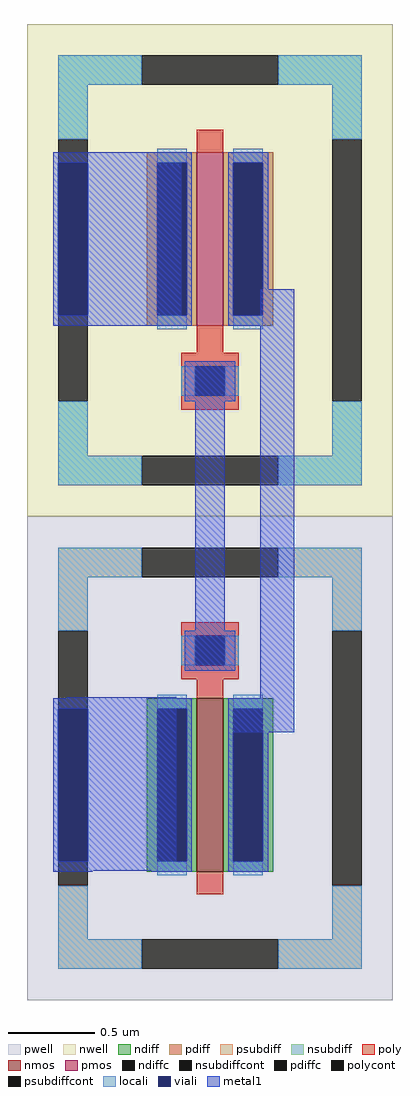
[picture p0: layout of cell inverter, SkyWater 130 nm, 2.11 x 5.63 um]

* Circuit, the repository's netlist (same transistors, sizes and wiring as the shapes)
* NGSPICE file created from inverter.ext - technology: sky130A

.subckt sky130_fd_pr__nfet_01v8_64Z3AY a_15_n131# a_n175_n243# a_n33_91# a_n73_n131#
X0 a_15_n131# a_n33_91# a_n73_n131# a_n175_n243# sky130_fd_pr__nfet_01v8 ad=0.29 pd=2.58 as=0.29 ps=2.58 w=1 l=0.15
.ends

.subckt sky130_fd_pr__pfet_01v8_LGS3BL a_n73_n64# a_n33_n161# a_15_n64# w_n211_n284#
X0 a_15_n64# a_n33_n161# a_n73_n64# w_n211_n284# sky130_fd_pr__pfet_01v8 ad=0.29 pd=2.58 as=0.29 ps=2.58 w=1 l=0.15
.ends

.subckt inverter
XXM1 m1_179_318# VSUBS m1_141_395# VSUBS sky130_fd_pr__nfet_01v8_64Z3AY
XXM2 li_n17_799# m1_141_395# m1_179_318# li_n17_799# sky130_fd_pr__pfet_01v8_LGS3BL
.ends

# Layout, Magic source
magic
tech sky130A
magscale 1 2
<< viali >>
rect -17 799 17 975
rect -17 169 17 345
<< metal1 >>
rect -23 975 125 987
rect -23 799 -17 975
rect 17 799 125 975
rect -23 787 125 799
rect 141 395 175 740
rect -7 357 119 358
rect 216 357 255 829
rect -23 345 119 357
rect -23 169 -17 345
rect 17 169 119 345
rect 179 318 255 357
rect -23 158 119 169
rect -23 157 23 158
use sky130_fd_pr__nfet_01v8_64Z3AY  XM1
transform 1 0 158 0 1 288
box -211 -279 211 279
use sky130_fd_pr__pfet_01v8_LGS3BL  XM2
transform 1 0 158 0 1 851
box -211 -284 211 284
<< end >>

# cell sky130_fd_pr__nfet_01v8_64Z3AY: kit device sky130_fd_pr__nfet_01v8, w 1.0 l 0.15 m 1 nf 1 diffcov 100 polycov 100 guard 1 glc 1 grc 1 gtc 1 gbc 1 tbcov 100 rlcov 100 topc 1 botc 0 poverlap 0 doverlap 1 lmin 0.15 wmin 0.42 compatible {sky130_fd_pr__nfet_01v8 sky130_fd_pr__nfet_01v8_lvt sky130_fd_bs_flash__special_sonosfet_star sky130_fd_pr__nfet_g5v0d10v5 sky130_fd_pr__nfet_05v0_nvt sky130_fd_pr__nfet_03v3_nvt} full_metal 1 viasrc 100 viadrn 100 viagate 100 viagb 0 viagr 0 viagl 0 viagt 0

# cell sky130_fd_pr__pfet_01v8_LGS3BL: kit device sky130_fd_pr__pfet_01v8, w 1.0 l 0.15 m 1 nf 1 diffcov 100 polycov 100 guard 1 glc 1 grc 1 gtc 1 gbc 1 tbcov 100 rlcov 100 topc 0 botc 1 poverlap 0 doverlap 1 lmin 0.15 wmin 0.42 compatible {sky130_fd_pr__pfet_01v8 sky130_fd_pr__pfet_01v8_lvt sky130_fd_pr__pfet_01v8_hvt sky130_fd_pr__pfet_g5v0d10v5} full_metal 1 viasrc 100 viadrn 100 viagate 100 viagb 0 viagr 0 viagl 0 viagt 0
